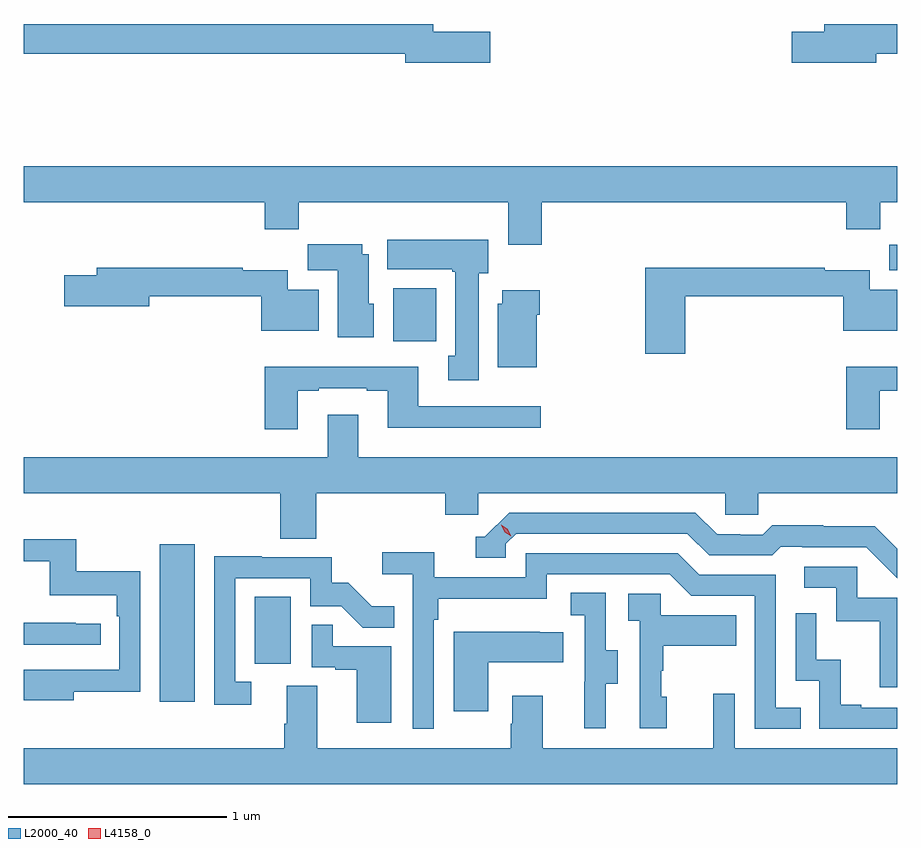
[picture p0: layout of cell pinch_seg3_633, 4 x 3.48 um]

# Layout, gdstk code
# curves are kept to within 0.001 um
import gdstk
lib = gdstk.Library(unit=1e-6, precision=1e-09)
def R(c, l, rs):  # rectangles x0, y0, x1, y1
    for r in rs: c.add(gdstk.rectangle(r[:2], r[2:], *l))
def P(c, l, *ps):  # polygons
    for p in ps: c.add(gdstk.Polygon(p, *l))
L2000_40 = (2000, 40)
L4158_0 = (4158, 0)

pinch_seg3_633 = lib.new_cell('pinch_seg3_633')
R(pinch_seg3_633, L2000_40, [(1030.463,683.976,1030.624,684.697), (1030.898,684.15,1031.062,684.457), (1031.531,685.628,1031.728,685.87), (1033.804,685.952,1033.84,686.07)])
P(pinch_seg3_633, L2000_40, [(1033.744,686.944),(1033.84,686.944),(1033.84,687.08),(1033.505,687.08),(1033.505,687.044),(1033.356,687.044),(1033.356,686.902),(1033.744,686.902)],
  [(1031.977,687.044),(1031.716,687.044),(1031.716,687.08),(1029.84,687.08),(1029.84,686.944),(1031.588,686.944),(1031.588,686.902),(1031.977,686.902)],
  [(1032.212,686.264),(1033.607,686.264),(1033.607,686.14),(1033.763,686.14),(1033.763,686.264),(1033.84,686.264),(1033.84,686.428),(1029.84,686.428),(1029.84,686.264),(1030.943,686.264),(1030.943,686.14),(1031.099,686.14),(1031.099,686.264),(1032.059,686.264),(1032.059,686.07),(1032.212,686.07)],
  [(1031.923,685.938),(1031.968,685.938),(1031.968,686.092),(1031.504,686.092),(1031.504,685.958),(1031.803,685.958),(1031.803,685.945),(1031.816,685.945),(1031.816,685.562),(1031.783,685.562),(1031.783,685.449),(1031.923,685.449)],
  [(1031.443,685.8),(1031.419,685.8),(1031.419,686.026),(1031.389,686.026),(1031.389,686.071),(1031.14,686.071),(1031.14,685.952),(1031.279,685.952),(1031.279,685.646),(1031.443,685.646)],
  [(1031.191,685.864),(1031.05,685.864),(1031.05,685.952),(1030.844,685.952),(1030.844,685.963),(1030.175,685.963),(1030.175,685.929),(1030.026,685.929),(1030.026,685.787),(1030.414,685.787),(1030.414,685.834),(1030.928,685.834),(1030.928,685.676),(1031.191,685.676)],
  [(1032.869,685.834),(1033.592,685.834),(1033.592,685.676),(1033.84,685.676),(1033.84,685.864),(1033.714,685.864),(1033.714,685.952),(1033.508,685.952),(1033.508,685.963),(1032.686,685.963),(1032.686,685.569),(1032.869,685.569)],
  [(1032.19,685.748),(1032.203,685.748),(1032.203,685.861),(1032.032,685.861),(1032.032,685.8),(1032.011,685.8),(1032.011,685.508),(1032.19,685.508)],
  [(1033.759,685.401),(1033.84,685.401),(1033.84,685.51),(1033.607,685.51),(1033.607,685.224),(1033.759,685.224)],
  [(1031.095,685.401),(1031.191,685.401),(1031.191,685.413),(1031.411,685.413),(1031.411,685.401),(1031.507,685.401),(1031.507,685.232),(1032.208,685.232),(1032.208,685.329),(1031.647,685.329),(1031.647,685.51),(1030.943,685.51),(1030.943,685.224),(1031.095,685.224)],
  [(1031.18,684.932),(1031.771,684.932),(1031.771,684.834),(1031.922,684.834),(1031.922,684.932),(1033.053,684.932),(1033.053,684.834),(1033.203,684.834),(1033.203,684.932),(1033.84,684.932),(1033.84,685.096),(1031.371,685.096),(1031.371,685.291),(1031.231,685.291),(1031.231,685.096),(1029.84,685.096),(1029.84,684.932),(1031.015,684.932),(1031.015,684.724),(1031.18,684.724)],
  [(1033.84,684.677),(1033.736,684.781),(1033.5,684.781),(1033.5,684.784),(1033.267,684.784),(1033.225,684.741),(1033.122,684.741),(1033.122,684.744),(1033.015,684.744),(1032.916,684.843),(1032.063,684.843),(1031.952,684.732),(1031.909,684.732),(1031.909,684.636),(1032.048,684.636),(1032.048,684.699),(1032.096,684.747),(1032.879,684.747),(1032.978,684.648),(1033.267,684.648),(1033.306,684.687),(1033.405,684.687),(1033.405,684.684),(1033.698,684.684),(1033.839,684.543)],
  [(1030.069,684.022),(1030.374,684.022),(1030.374,684.574),(1030.081,684.574),(1030.081,684.72),(1029.84,684.72),(1029.84,684.619),(1029.96,684.619),(1029.96,684.464),(1030.265,684.464),(1030.265,684.368),(1030.278,684.368),(1030.278,684.123),(1029.965,684.123),(1029.965,684.124),(1029.84,684.124),(1029.84,683.984),(1030.069,683.984)],
  [(1031.718,684.353),(1031.738,684.353),(1031.738,684.449),(1032.234,684.449),(1032.234,684.561),(1032.798,684.561),(1032.897,684.462),(1033.188,684.462),(1033.188,683.853),(1033.397,683.853),(1033.397,683.949),(1033.284,683.949),(1033.284,684.558),(1032.934,684.558),(1032.835,684.657),(1032.138,684.657),(1032.138,684.546),(1031.72,684.546),(1031.72,684.662),(1031.481,684.662),(1031.481,684.56),(1031.622,684.56),(1031.622,683.853),(1031.718,683.853)],
  [(1030.882,684.069),(1030.809,684.069),(1030.809,684.543),(1031.151,684.543),(1031.151,684.414),(1031.295,684.414),(1031.393,684.316),(1031.537,684.316),(1031.537,684.415),(1031.433,684.415),(1031.326,684.522),(1031.25,684.522),(1031.25,684.639),(1030.931,684.639),(1030.931,684.644),(1030.713,684.644),(1030.713,683.964),(1030.882,683.964)],
  [(1033.84,684.453),(1033.656,684.453),(1033.656,684.594),(1033.413,684.594),(1033.413,684.498),(1033.56,684.498),(1033.56,684.345),(1033.759,684.345),(1033.759,684.042),(1033.84,684.042)],
  [(1032.505,684.058),(1032.559,684.058),(1032.559,684.213),(1032.504,684.213),(1032.504,684.476),(1032.345,684.476),(1032.345,684.373),(1032.408,684.373),(1032.408,684.069),(1032.407,684.069),(1032.407,683.856),(1032.505,683.856)],
  [(1032.784,684),(1032.759,684),(1032.759,684.119),(1032.769,684.119),(1032.769,684.233),(1033.103,684.233),(1033.103,684.373),(1032.756,684.373),(1032.756,684.471),(1032.609,684.471),(1032.609,684.347),(1032.66,684.347),(1032.66,683.856),(1032.784,683.856)],
  [(1033.84,683.949),(1033.675,683.949),(1033.675,683.962),(1033.58,683.962),(1033.58,684.17),(1033.47,684.17),(1033.47,684.382),(1033.374,684.382),(1033.374,684.072),(1033.482,684.072),(1033.482,683.853),(1033.84,683.853)],
  [(1030.192,684.333),(1030.079,684.333),(1030.079,684.338),(1029.84,684.338),(1029.84,684.237),(1030.192,684.237)],
  [(1031.524,684.231),(1031.255,684.231),(1031.255,684.329),(1031.16,684.329),(1031.16,684.135),(1031.267,684.135),(1031.267,684.123),(1031.366,684.123),(1031.366,683.88),(1031.524,683.88)],
  [(1031.968,684.158),(1032.311,684.158),(1032.311,684.295),(1032.203,684.295),(1032.203,684.298),(1031.81,684.298),(1031.81,683.934),(1031.968,683.934)],
  [(1033.84,683.764),(1033.095,683.764),(1033.095,684.013),(1032.998,684.013),(1032.998,683.764),(1032.217,683.764),(1032.217,684.004),(1032.077,684.004),(1032.077,683.876),(1032.07,683.876),(1032.07,683.764),(1031.185,683.764),(1031.185,684.05),(1031.045,684.05),(1031.045,683.876),(1031.033,683.876),(1031.033,683.764),(1029.84,683.764),(1029.84,683.6),(1033.84,683.6)])
P(pinch_seg3_633, L4158_0, [(1032.072,684.734),(1032.042,684.753),(1032.026,684.785),(1032.026,684.786),(1032.026,684.786),(1032.057,684.766),(1032.073,684.734),(1032.073,684.734)])

lib.write_gds('pinch_seg3_633.gds')
